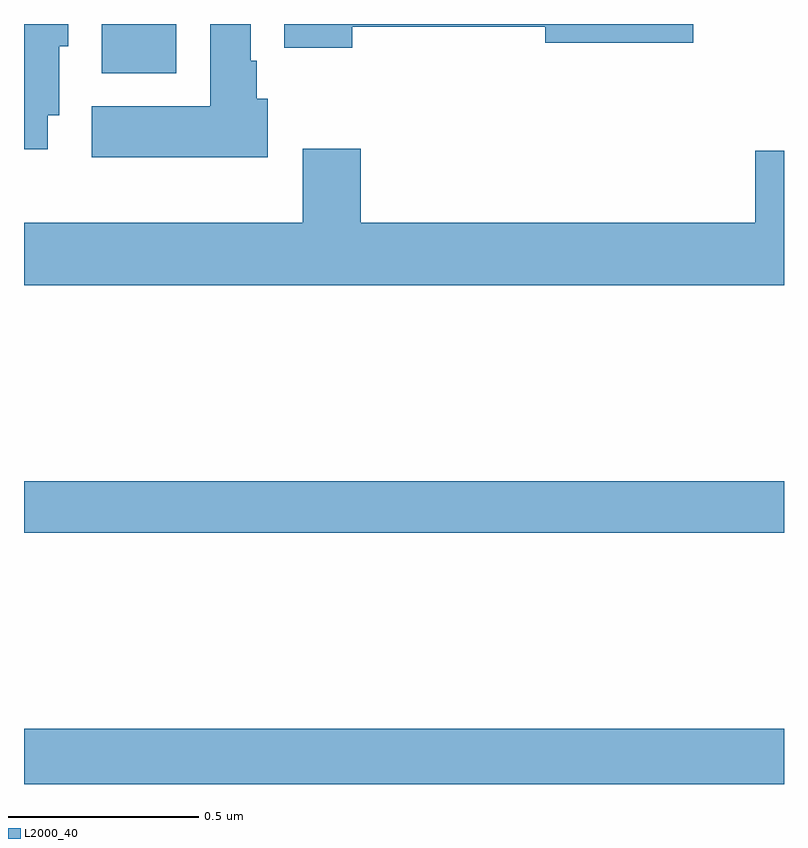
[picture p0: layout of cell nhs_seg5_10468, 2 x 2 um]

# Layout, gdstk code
import gdstk
lib = gdstk.Library(unit=1e-6, precision=1e-09)
def R(c, l, rs):  # rectangles x0, y0, x1, y1
    for r in rs: c.add(gdstk.rectangle(r[:2], r[2:], *l))
def P(c, l, *ps):  # polygons
    for p in ps: c.add(gdstk.Polygon(p, *l))
L2000_40 = (2000, 40)

nhs_seg5_10468 = lib.new_cell('nhs_seg5_10468')
R(nhs_seg5_10468, L2000_40, [(247,836.799,249,836.944), (247,837.46,249,837.596), (247.205,838.67,247.401,838.799)])
P(nhs_seg5_10468, L2000_40, [(247.063,838.559),(247.093,838.559),(247.093,838.74),(247.117,838.74),(247.117,838.799),(247,838.799),(247,838.47),(247.063,838.47)],
  [(247.864,838.792),(248.372,838.792),(248.372,838.75),(248.761,838.75),(248.761,838.799),(247.685,838.799),(247.685,838.736),(247.864,838.736)],
  [(247.642,838.602),(247.612,838.602),(247.612,838.702),(247.597,838.702),(247.597,838.799),(247.49,838.799),(247.49,838.582),(247.178,838.582),(247.178,838.448),(247.642,838.448)],
  [(249,838.465),(248.924,838.465),(248.924,838.276),(247.886,838.276),(247.886,838.471),(247.733,838.471),(247.733,838.276),(247,838.276),(247,838.112),(249,838.112)])

lib.write_gds('nhs_seg5_10468.gds')
